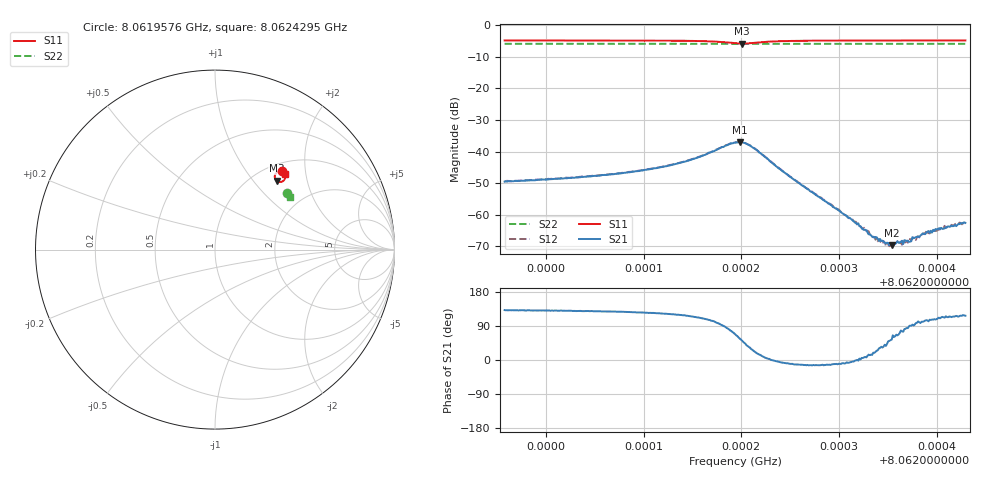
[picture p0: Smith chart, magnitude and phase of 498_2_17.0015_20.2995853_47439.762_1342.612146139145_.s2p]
#  HZ  S  RI  R  50.00
! Rohde & Schwarz Vector Network Analyzer
! Rohde-Schwarz,ZNB20-2Port,1311601062101988,3.16
! Created: UTC 3/20/2024, 11:14:22 PM
! freq[Hz]  re:S11  im:S11  re:S21  im:S21  re:S12  im:S12  re:S22  im:S22
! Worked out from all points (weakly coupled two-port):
!   401 points, 8.0619576 GHz to 8.0624295 GHz, reference 50 ohm
!   highest |S21| = -37.02 dB at 8.0621983 GHz (marker M1); lowest = -69.7 dB at 8.062354 GHz (marker M2)
!   lowest |S11| = -5.8 dB at 8.0622006 GHz (marker M3), VSWR 3.12, Z = 63.6 + j66.3 ohm
!   |S11| at or under -10 dB: nowhere
!   |S22| runs from -5.9 to -5.8 dB; largest |S21 - S12| = 0.00099
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8.06195764e9  0.3742 0.438  -0.00223 0.0025  -0.00209 0.00271  0.4024 0.3139
8.06203667e9  0.3804 0.4321  -0.00251 0.0031  -0.00236 0.00327  0.4052 0.3099
8.0620697e9  0.3834 0.4287  -0.0027 0.00347  -0.00251 0.00368  0.4065 0.3082
8.0621157e9  0.3881 0.4215  -0.00306 0.00467  -0.00278 0.00489  0.4081 0.3055
8.06214991e9  0.3916 0.4102  -0.00318 0.00687  -0.00276 0.00712  0.4094 0.3034
8.06219355e9  0.3601 0.3766  0.00504 0.0128  0.00596 0.0127  0.4088 0.3002
8.06219827e9  0.3486 0.3798  0.00772 0.0118  0.00844 0.0115  0.4086 0.3002
8.06220063e9  0.3434 0.3833  0.00874 0.011  0.00935 0.0104  0.4084 0.3005
8.0622136e9  0.3335 0.4116  0.0103 0.00422  0.0106 0.00374  0.4088 0.3012
8.06224427e9  0.3578 0.4353  0.00459 -0.000635  0.0046 -0.000941  0.4113 0.3004
8.06227258e9  0.3702 0.4349  0.00222 -0.000557  0.00221 -0.000711  0.4128 0.299
8.06231268e9  0.3788 0.4316  0.000843 -7.83e-05  0.000856 -0.000129  0.4144 0.2967
8.06233273e9  0.3815 0.43  0.00046 0.000115  0.000475 6.57e-05  0.4152 0.2958
8.06234217e9  0.3827 0.4292  0.000348 0.000221  0.000336 0.000172  0.4156 0.2951
8.0623516e9  0.3838 0.4286  0.00021 0.000254  0.000217 0.000232  0.416 0.2947
8.06235396e9  0.384 0.4285  0.000194 0.000263  0.000226 0.000268  0.4159 0.2945
8.06237166e9  0.3858 0.4272  8.18e-06 0.00037  3.94e-05 0.000372  0.4167 0.2936
8.06237755e9  0.3863 0.4268  -2.61e-05 0.000433  8.55e-06 0.000439  0.4169 0.2933
8.06239171e9  0.3876 0.4259  -0.000116 0.000539  -0.000114 0.00051  0.4174 0.2925
8.06240586e9  0.3889 0.425  -0.000241 0.000545  -0.000188 0.000589  0.4178 0.292
8.0624212e9  0.3901 0.4239  -0.000294 0.000624  -0.000265 0.000661  0.4184 0.291
8.06242945e9  0.3908 0.4235  -0.000336 0.000663  -0.000318 0.000653  0.4187 0.2906
